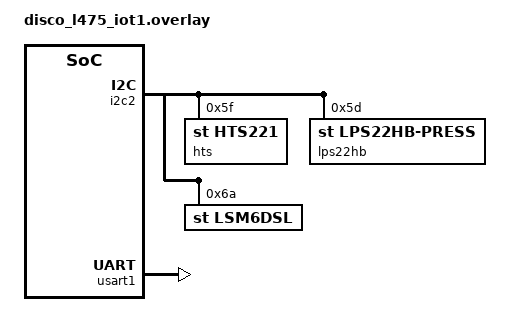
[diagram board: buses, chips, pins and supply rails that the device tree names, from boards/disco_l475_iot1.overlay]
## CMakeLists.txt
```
cmake_minimum_required(VERSION 3.20.0)
find_package(Zephyr REQUIRED HINTS $ENV{ZEPHYR_BASE})
project(bat_log)

#include_directories(include)
target_sources(app PRIVATE src/main.c src/shell_threads.c src/fs_log.c src/htpg_sensors.c)
include_directories(include)
```

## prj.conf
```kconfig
CONFIG_MAIN_STACK_SIZE=8192

CONFIG_I2C=y
CONFIG_SENSOR=y

CONFIG_CBPRINTF_FP_SUPPORT=y
CONFIG_LOG=y
CONFIG_LOG_MODE_DEFERRED=y
CONFIG_LOG_DEFAULT_LEVEL=3

CONFIG_SHELL=y

CONFIG_FLASH=y
CONFIG_FLASH_MAP=y
CONFIG_FILE_SYSTEM=y
CONFIG_FILE_SYSTEM_LITTLEFS=y
CONFIG_FILE_SYSTEM_SHELL=y


CONFIG_PM_DEVICE_SHELL=y

#CONFIG_PM=y

CONFIG_PM_DEVICE=y
CONFIG_PM_DEVICE_RUNTIME=y

CONFIG_TICKLESS_KERNEL=y
CONFIG_SERIAL=y
#CONFIG_CONSOLE=y
#CONFIG_UART_CONSOLE=n
#CONFIG_SHELL_BACKEND_RTT=y
CONFIG_SHELL_BACKEND_SERIAL=y
#CONFIG_SHELL_BACKEND_SERIAL=n
CONFIG_UART_INTERRUPT_DRIVEN=y
```

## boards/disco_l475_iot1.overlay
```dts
/ {
        aliases {
                ht-sensor = &hts;
                pressure-sensor = &lps22hb;
                imu-sensor = &lsm6dsl;
        };
};
&flash0 {
        /delete-node/ partitions;

        partitions {
                compatible = "fixed-partitions";
                #address-cells = <1>;
                #size-cells = <1>;

                /* 0x00000000 .. 0x0000FFFF (64 KiB) */
                boot_partition: partition@0 {
                        label = "mcuboot";
                        reg = <0x00000000 0x00010000>;
                        read-only;
                };

                /* 0x00010000 .. 0x000EFFFF (832 KiB) */
                slot0_partition: partition@10000 {
                        label = "image-0";
                        reg = <0x00010000 0x000D0000>;
                };

                /* 0x000E0000 .. 0x000FFFFF (128 KiB) */
                app_lfs: partition@e0000 {
                        label = "app-lfs";
                        reg = <0x000E0000 0x00020000>;
                };
	};
};

&i2c2 {
        status = "okay";

        /* HTS221 @ 0x5F */
        hts: hts221@5f {
                compatible = "st,hts221";
                reg = <0x5f>;
                /* adjust to your actual DRDY pin if you want an IRQ */
                /* drdy-gpios = <&gpiod 15 GPIO_ACTIVE_HIGH>; */
                status = "okay";
        };

        /* LPS22HB @ 0x5D (some boards use 0x5C) */
        lps22hb: lps22hb-press@5d {
                compatible = "st,lps22hb-press";
                reg = <0x5d>;
                status = "okay";
        };
       /* LSM6DSL @ 0x6A (alt addr 0x6B) */
        lsm6dsl: lsm6dsl@6a {
                compatible = "st,lsm6dsl";
                reg = <0x6a>;
                /* irq-gpios = <&gpiod 11 GPIO_ACTIVE_HIGH>; */
                status = "okay";
        };
};



/ {
	chosen {
		zephyr,console = &usart1;
		zephyr,shell-uart = &usart1;
	};
};
&usart1 {
	status = "okay";
	/* current-speed 115200 is already set by the board; keep it */
	wakeup-source;		/* <- key: RX can wake from STOP */
	 wakeup-line = <7>;
};
```

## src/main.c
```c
#include "fs_log.h"
#include "htpg_sensors.h"
#include "shell_threads.h"
#include <zephyr/drivers/uart.h>
#include <zephyr/device.h>
#include <zephyr/pm/device_runtime.h>
#include <zephyr/pm/policy.h>
LOG_MODULE_REGISTER(main);
const struct device *uart_dev=DEVICE_DT_GET(DT_CHOSEN(zephyr_console));

int main()
{
	 LOG_INF("Sensor shell logging demo starting...");
   	 pm_device_runtime_disable(uart_dev);
    	pm_policy_state_lock_get(PM_STATE_SUSPEND_TO_RAM ,PM_ALL_SUBSTATES);
    	pm_policy_state_lock_get(PM_STATE_SUSPEND_TO_RAM,PM_ALL_SUBSTATES);
    	LOG_INF("power stuff");
    	hum_temp_sensor_init();
    	pressure_sensor_init();
    	imu_sensor_init();

   	 mount_sens();
}
```
